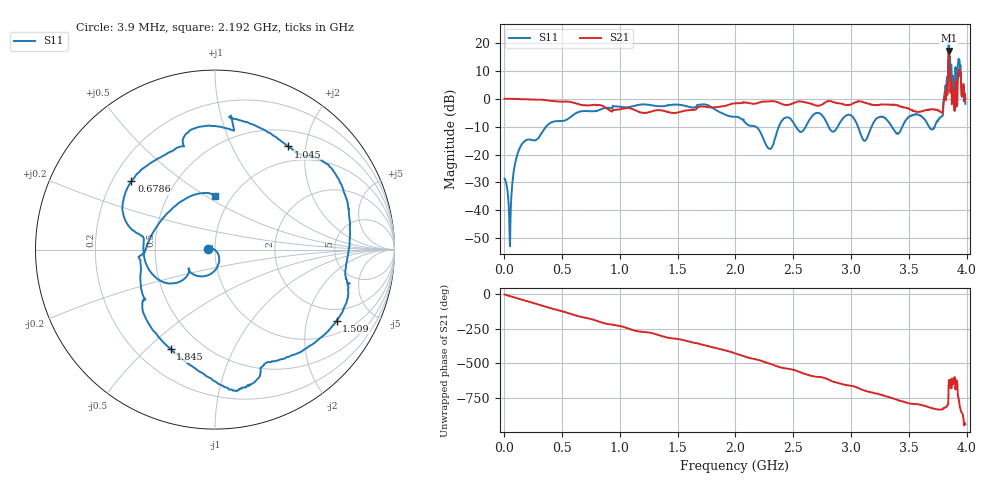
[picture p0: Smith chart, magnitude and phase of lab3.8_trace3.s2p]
# HZ S RI R 50
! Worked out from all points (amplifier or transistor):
!   1023 points, 3.9 MHz to 3.99 GHz, reference 50 ohm
!   highest |S21| = 17.2 dB at 3.845 GHz (marker M1)
!   |S21| within 3 dB of that: 3.844009 GHz to 3.846696 GHz (2.687 MHz wide, 0.0699 % of centre)
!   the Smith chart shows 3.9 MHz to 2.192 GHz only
!   S11 on the Smith chart (normalised r, x): 3.9 MHz: 0.93, +0.00; 678.6 MHz: 0.28, +0.33; 1.045 GHz: 0.74, +1.69; 1.509 GHz: 1.47, -3.04; 1.845 GHz: 0.34, -0.59; 2.192 GHz: 0.84, +0.55
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3900000  -0.0368 0.00267  1.001 -0.0186  0 0  0 0
3.315e8  -0.1876 -0.1745  0.1272 -0.955  0 0  0 0
6.708e8  -0.4803 0.358  -0.7458 -0.2188  0 0  0 0
6.786e8  -0.4656 0.3809  -0.7457 -0.2014  0 0  0 0
1.0452e9  0.4087 0.5749  -0.3514 0.5789  0 0  0 0
1.3338e9  0.7349 -0.0619  0.253 0.5727  0 0  0 0
1.5093e9  0.6773 -0.3959  0.4646 0.3332  0 0  0 0
1.8447e9  -0.2477 -0.5528  0.6049 -0.3766  0 0  0 0
1.9968e9  -0.3931 -0.2722  0.3292 -0.7631  0 0  0 0
2.1918e9  0.000859 0.2995  -0.3285 -0.7743  0 0  0 0
2.6637e9  0.0103 -0.4886  -0.5089 0.6305  0 0  0 0
3.3267e9  -0.3387 0.1815  0.7285 -0.3046  0 0  0 0
3.7713e9  0.4055 0.2219  -0.239 -0.5359  0 0  0 0
3.822e9  0.609 1.042  -0.1126 -0.9446  0 0  0 0
3.8454e9  -6.425 -9.108  1.206 7.179  0 0  0 0
3.8649e9  -2.676 -3  1.042 2.106  0 0  0 0
3.8766e9  -0.5253 -1.835  -0.0413 1.081  0 0  0 0
3.9e9  -0.735 -2.056  0.2952 1.146  0 0  0 0
3.9195e9  -0.3628 -1.465  0.0988 0.7909  0 0  0 0
3.9507e9  0.0115 2.629  -1.191 -1.838  0 0  0 0
3.9663e9  0.6078 1.466  -1.39 -0.8738  0 0  0 0
3.9897e9  0.7038 -0.4057  -0.783 0.6091  0 0  0 0
